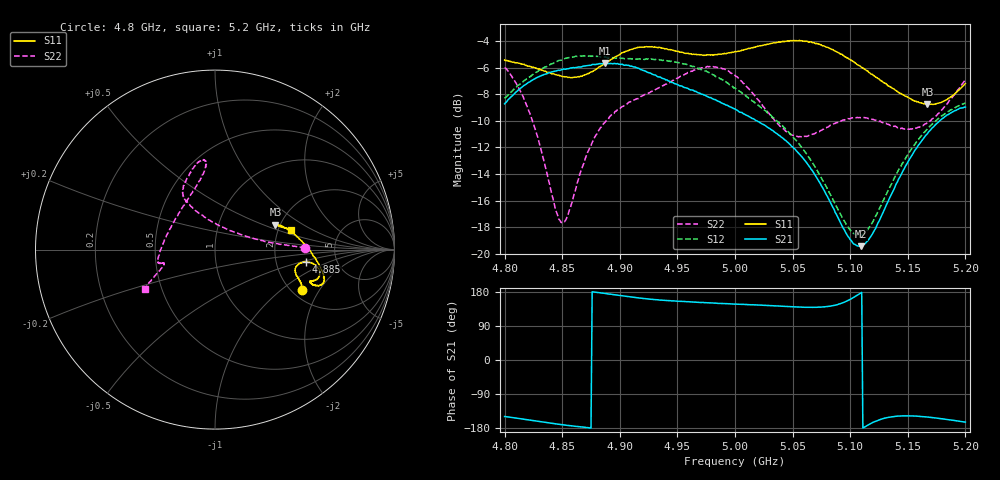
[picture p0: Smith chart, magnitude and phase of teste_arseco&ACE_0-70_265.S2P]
! Network Analyzer HP8722D
! Hewlett-Packard
! Data name: Linha & Wilkinson
! Saver's name: Rodrigo Anjos
! Comments: Teste da utilização de aquisição
! continua pelo VNA HP8722D
! Time and date: 8/5/2025 14:58
!  Frequency  S11  S21  S12  S22
# HZ  S  MA R 50
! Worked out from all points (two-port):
!   401 points, 4.8 GHz to 5.2 GHz, reference 50 ohm
!   highest |S21| = -5.67 dB at 4.887 GHz (marker M1); lowest = -19.4 dB at 5.109 GHz (marker M2)
!   |S21| within 3 dB of the highest: 4.801 GHz to 4.989 GHz (188.1 MHz wide, 3.84 % of centre)
!   lowest |S11| = -8.8 dB at 5.167 GHz (marker M3), VSWR 2.15, Z = 94.4 + j30.3 ohm
!   |S11| at or under -10 dB: nowhere
!   |S22| runs from -17.6 to -5.9 dB; largest |S21 - S12| = 1.1
!   S11 on the Smith chart (normalised r, x): 4.8 GHz: 2.25, -1.43; 4.885 GHz: 2.98, -0.57; 5.2 GHz: 2.33, +0.64
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4.8e9  0.5348 -25.1  0.3663 -149.2  0.3841 10.2  0.5014 1.2
4.811e9  0.5225 -22.5  0.4089 -153.7  0.4277 8.6  0.4296 2.8
4.822e9  0.5058 -20.4  0.4429 -158.6  0.4626 6.9  0.3369 5.9
4.848e9  0.4656 -15.9  0.4886 -169.9  0.5331 2.9  0.1339 55.5
4.854e9  0.463 -14.7  0.4955 -172.3  0.5439 2.0  0.1371 81.3
4.867e9  0.4645 -10.9  0.5047 -176.8  0.5529 -0.0  0.2096 111.9
4.885e9  0.5124 -7.9  0.5185 176.6  0.5494 -1.2  0.3048 120.1
4.887e9  0.5186 -7.7  0.5204 175.7  0.5492 -1.1  0.3118 120.8
4.914e9  0.593 -11.2  0.5018 164.8  0.5392 -0.7  0.3814 117.9
4.934e9  0.5965 -15.6  0.4614 158.3  0.5368 -1.7  0.421 112.3
4.975e9  0.558 -18.8  0.3921 151.2  0.486 -5.6  0.5031 98.6
5e9  0.576 -19.5  0.3506 147.4  0.4202 -5.5  0.468 96.5
5.018e9  0.599 -19.6  0.3173 145.5  0.3677 -2.8  0.3892 103.5
5.046e9  0.6304 -17.2  0.2618 141.1  0.2887 3.4  0.2858 134.5
5.067e9  0.6212 -13.4  0.2061 139.0  0.2211 9.3  0.2815 164.4
5.098e9  0.5431 -2.7  0.1167 157.1  0.1264 37.9  0.3224 -170.8
5.109e9  0.5059 2.5  0.1071 176.5  0.1177 59.6  0.325 -167.3
5.119e9  0.4729 7.6  0.1184 -165.6  0.1307 78.6  0.3201 -166.4
5.134e9  0.4263 14.8  0.1618 -150.9  0.177 94.8  0.3056 -165.9
5.167e9  0.3643 22.5  0.2826 -150.6  0.295 102.1  0.3117 -161.3
5.182e9  0.3763 20.5  0.3275 -156.2  0.3358 102.3  0.3575 -157.1
5.2e9  0.4364 14.8  0.3563 -163.9  0.3693 102.5  0.4505 -150.7
